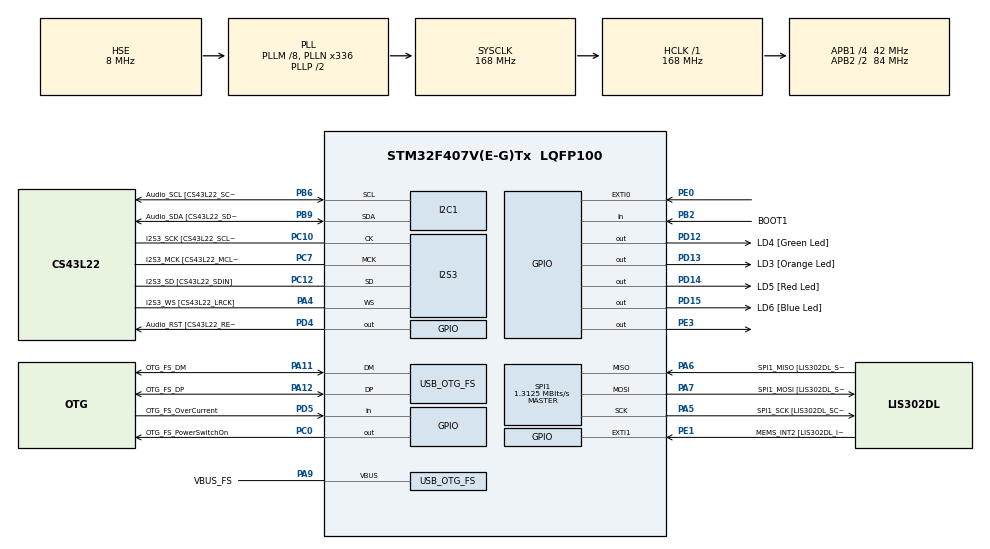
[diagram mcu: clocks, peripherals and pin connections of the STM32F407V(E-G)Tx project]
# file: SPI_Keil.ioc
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I2S3.AudioFreq-Half_Duplex_Master=I2S_AUDIOFREQ_96K
I2S3.ErrorAudioFreq=-2.34 %
I2S3.ErrorAudioFreq-Half_Duplex_Master=0.8 %
I2S3.FullDuplexMode=I2S_FULLDUPLEXMODE_DISABLE
I2S3.Instance=SPI$Index
I2S3.RealAudioFreq=93.75 KHz
I2S3.RealAudioFreq-Half_Duplex_Master=96.774 KHz
I2S3.VirtualMode=I2S_MODE_MASTER
Mcu.Family=STM32F4
Mcu.Name=STM32F407V(E-G)Tx
Mcu.Package=LQFP100
NVIC.EXTI0_IRQn=true\:0\:0\:false\:false\:true\:true
NVIC.OTG_FS_IRQn=true\:0\:0\:false\:false\:true\:true
NVIC.PriorityGroup=NVIC_PRIORITYGROUP_0
PA10.GPIO_Label=OTG_FS_ID
PA10.GPIO_Mode=GPIO_MODE_AF_PP
PA10.GPIO_PuPd=GPIO_NOPULL
PA10.GPIO_Speed=GPIO_SPEED_FREQ_LOW
PA10.Signal=USB_OTG_FS_ID
PA11.GPIO_Label=OTG_FS_DM
PA11.GPIO_Mode=GPIO_MODE_AF_PP
PA11.GPIO_PuPd=GPIO_NOPULL
PA11.GPIO_Speed=GPIO_SPEED_FREQ_LOW
PA11.Mode=Host_Only
PA11.Signal=USB_OTG_FS_DM
PA12.GPIO_Label=OTG_FS_DP
PA12.GPIO_Mode=GPIO_MODE_AF_PP
PA12.GPIO_PuPd=GPIO_NOPULL
PA12.GPIO_Speed=GPIO_SPEED_FREQ_LOW
PA12.Mode=Host_Only
PA12.Signal=USB_OTG_FS_DP
PA13.GPIO_Label=SWDIO
PA13.Mode=Serial_Wire
PA13.Signal=SYS_JTMS-SWDIO
PA14.GPIO_Label=SWCLK
PA14.Mode=Serial_Wire
PA14.Signal=SYS_JTCK-SWCLK
PA4.GPIO_Label=I2S3_WS [CS43L22_LRCK]
PA4.GPIO_Mode=GPIO_MODE_AF_PP
PA4.GPIO_PuPd=GPIO_NOPULL
PA4.GPIO_Speed=GPIO_SPEED_FREQ_LOW
PA4.Mode=Half_Duplex_Master
PA4.Signal=I2S3_WS
PA5.GPIO_Label=SPI1_SCK [LIS302DL_SCL/SPC]
PA5.GPIO_Mode=GPIO_MODE_AF_PP
PA5.GPIO_PuPd=GPIO_NOPULL
PA5.GPIO_Speed=GPIO_SPEED_FREQ_LOW
PA5.Mode=Full_Duplex_Master
PA5.Signal=SPI1_SCK
PA6.GPIO_Label=SPI1_MISO [LIS302DL_SDO]
PA6.GPIO_Mode=GPIO_MODE_AF_PP
PA6.GPIO_PuPd=GPIO_NOPULL
PA6.GPIO_Speed=GPIO_SPEED_FREQ_LOW
PA6.Mode=Full_Duplex_Master
PA6.Signal=SPI1_MISO
PA7.GPIO_Label=SPI1_MOSI [LIS302DL_SDA/SDI/SDO]
PA7.GPIO_Mode=GPIO_MODE_AF_PP
PA7.GPIO_PuPd=GPIO_NOPULL
PA7.GPIO_Speed=GPIO_SPEED_FREQ_LOW
PA7.Mode=Full_Duplex_Master
PA7.Signal=SPI1_MOSI
PA9.GPIO_Label=VBUS_FS
PA9.GPIO_Mode=GPIO_MODE_INPUT
PA9.GPIO_PuPd=GPIO_NOPULL
PA9.Mode=Activate_VBUS
PA9.Signal=USB_OTG_FS_VBUS
PB10.GPIO_Label=CLK_IN [MP45DT02_CLK]
PB10.GPIO_Mode=GPIO_MODE_AF_PP
PB10.GPIO_PuPd=GPIO_NOPULL
PB10.GPIO_Speed=GPIO_SPEED_FREQ_LOW
PB10.Signal=I2S2_CK
PB2.GPIO_Label=BOOT1
PB2.GPIO_Mode=GPIO_MODE_INPUT
PB2.GPIO_PuPd=GPIO_NOPULL
PB2.Signal=GPIO_Input
PB3.GPIO_Label=SWO
PB3.Signal=SYS_JTDO-SWO
PB6.GPIO_Label=Audio_SCL [CS43L22_SCL]
PB6.GPIO_Mode=GPIO_MODE_AF_OD
PB6.GPIO_PuPd=GPIO_NOPULL
PB6.GPIO_Speed=GPIO_SPEED_FREQ_LOW
PB6.Mode=I2C
PB6.Signal=I2C1_SCL
PB9.GPIO_Label=Audio_SDA [CS43L22_SDA]
PB9.GPIO_Mode=GPIO_MODE_AF_OD
PB9.GPIO_PuPd=GPIO_NOPULL
PB9.GPIO_Speed=GPIO_SPEED_FREQ_LOW
PB9.Mode=I2C
PB9.Signal=I2C1_SDA
PC0.GPIO_Label=OTG_FS_PowerSwitchOn
PC0.GPIO_PuPd=GPIO_NOPULL
PC0.GPIO_Speed=GPIO_SPEED_FREQ_LOW
PC0.PinState=GPIO_PIN_SET
PC0.Signal=GPIO_Output
PC10.GPIO_Label=I2S3_SCK [CS43L22_SCLK]
PC10.GPIO_Mode=GPIO_MODE_AF_PP
PC10.GPIO_PuPd=GPIO_NOPULL
PC10.GPIO_Speed=GPIO_SPEED_FREQ_LOW
PC10.Mode=Half_Duplex_Master
PC10.Signal=I2S3_CK
PC12.GPIO_Label=I2S3_SD [CS43L22_SDIN]
PC12.GPIO_Mode=GPIO_MODE_AF_PP
PC12.GPIO_PuPd=GPIO_NOPULL
PC12.GPIO_Speed=GPIO_SPEED_FREQ_LOW
PC12.Mode=Half_Duplex_Master
PC12.Signal=I2S3_SD
PC14-OSC32_IN.GPIO_Label=PC14-OSC32_IN
PC14-OSC32_IN.Mode=LSE-External-Oscillator
PC14-OSC32_IN.Signal=RCC_OSC32_IN
PC15-OSC32_OUT.GPIO_Label=PC15-OSC32_OUT
PC15-OSC32_OUT.Mode=LSE-External-Oscillator
PC15-OSC32_OUT.Signal=RCC_OSC32_OUT
PC3.GPIO_Label=PDM_OUT [MP45DT02_DOUT]
PC3.GPIO_Mode=GPIO_MODE_AF_PP
PC3.GPIO_PuPd=GPIO_NOPULL
PC3.GPIO_Speed=GPIO_SPEED_FREQ_LOW
PC3.Signal=I2S2_SD
PC7.GPIO_Label=I2S3_MCK [CS43L22_MCLK]
PC7.GPIO_Mode=GPIO_MODE_AF_PP
PC7.GPIO_PuPd=GPIO_NOPULL
PC7.GPIO_Speed=GPIO_SPEED_FREQ_LOW
PC7.Mode=Master_Clock_Activated
PC7.Signal=I2S3_MCK
PD12.GPIO_Label=LD4 [Green Led]
PD12.GPIO_PuPd=GPIO_NOPULL
PD12.GPIO_Speed=GPIO_SPEED_FREQ_LOW
PD12.Signal=GPIO_Output
PD13.GPIO_Label=LD3 [Orange Led]
PD13.GPIO_PuPd=GPIO_NOPULL
PD13.GPIO_Speed=GPIO_SPEED_FREQ_LOW
PD13.Signal=GPIO_Output
PD14.GPIO_Label=LD5 [Red Led]
PD14.GPIO_PuPd=GPIO_NOPULL
PD14.GPIO_Speed=GPIO_SPEED_FREQ_LOW
PD14.Signal=GPIO_Output
PD15.GPIO_Label=LD6 [Blue Led]
PD15.GPIO_PuPd=GPIO_NOPULL
PD15.GPIO_Speed=GPIO_SPEED_FREQ_LOW
PD15.Signal=GPIO_Output
PD4.GPIO_Label=Audio_RST [CS43L22_RESET]
PD4.GPIO_PuPd=GPIO_NOPULL
PD4.GPIO_Speed=GPIO_SPEED_FREQ_LOW
PD4.Signal=GPIO_Output
PD5.GPIO_Label=OTG_FS_OverCurrent
PD5.GPIO_Mode=GPIO_MODE_INPUT
PD5.GPIO_PuPd=GPIO_NOPULL
PD5.Signal=GPIO_Input
PE0.Signal=GPXTI0
PE1.GPIO_Label=MEMS_INT2 [LIS302DL_INT2]
PE1.GPIO_ModeDefaultEXTI=GPIO_MODE_EVT_RISING
PE1.GPIO_PuPd=GPIO_NOPULL
PE1.Signal=GPXTI1
PE3.GPIO_PuPd=GPIO_PULLUP
PE3.PinState=GPIO_PIN_SET
PE3.Signal=GPIO_Output
PH0-OSC_IN.GPIO_Label=PH0-OSC_IN
PH0-OSC_IN.Mode=HSE-External-Oscillator
PH0-OSC_IN.Signal=RCC_OSC_IN
PH1-OSC_OUT.GPIO_Label=PH1-OSC_OUT
PH1-OSC_OUT.Mode=HSE-External-Oscillator
PH1-OSC_OUT.Signal=RCC_OSC_OUT
ProjectManager.HeapSize=0x200
ProjectManager.StackSize=0x400
ProjectManager.TargetToolchain=MDK-ARM V5
RCC.48MHZClocksFreq_Value=48000000
RCC.AHBFreq_Value=168000000
RCC.APB1CLKDivider=RCC_HCLK_DIV4
RCC.APB1Freq_Value=42000000
RCC.APB1TimFreq_Value=84000000
RCC.APB2CLKDivider=RCC_HCLK_DIV2
RCC.APB2Freq_Value=84000000
RCC.APB2TimFreq_Value=168000000
RCC.CortexFreq_Value=168000000
RCC.HCLKFreq_Value=168000000
RCC.HSE_VALUE=8000000
RCC.HSI_VALUE=16000000
RCC.PLLM=8
RCC.PLLN=336
RCC.PLLQ=7
RCC.SYSCLKFreq_VALUE=168000000
RCC.SYSCLKSource=RCC_SYSCLKSOURCE_PLLCLK
RCC.VCOOutputFreq_Value=336000000
SPI1.BaudRatePrescaler=SPI_BAUDRATEPRESCALER_64
SPI1.BaudRatePrescaler-Full_Duplex_Master=SPI_BAUDRATEPRESCALER_2
SPI1.CalculateBaudRate=1.3125 MBits/s
SPI1.CalculateBaudRate-Full_Duplex_Master=42.0 MBits/s
SPI1.Direction=SPI_DIRECTION_2LINES
SPI1.Mode=SPI_MODE_MASTER
SPI1.Mode-Full_Duplex_Master=SPI_MODE_MASTER
SPI1.VirtualType=VM_MASTER
USB_OTG_FS.VirtualMode=Host_Only
USB_OTG_FS.phy_itface=HCD_PHY_EMBEDDED
board=STM32F4DISCOVERY

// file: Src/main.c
/**
  ******************************************************************************
  * @file           : main.c
  * @brief          : Main program body
  ******************************************************************************
  ** This notice applies to any and all portions of this file
  * that are not between comment pairs USER CODE BEGIN and
  * USER CODE END. Other portions of this file, whether
  * inserted by the user or by software development tools
  * are owned by their respective copyright owners.
  *
  * COPYRIGHT(c) 2018 STMicroelectronics
  *
  * Redistribution and use in source and binary forms, with or without modification,
  * are permitted provided that the following conditions are met:
  *   1. Redistributions of source code must retain the above copyright notice,
  *      this list of conditions and the following disclaimer.
  *   2. Redistributions in binary form must reproduce the above copyright notice,
  *      this list of conditions and the following disclaimer in the documentation
  *      and/or other materials provided with the distribution.
  *   3. Neither the name of STMicroelectronics nor the names of its contributors
  *      may be used to endorse or promote products derived from this software
  *      without specific prior written permission.
  *
  * THIS SOFTWARE IS PROVIDED BY THE COPYRIGHT HOLDERS AND CONTRIBUTORS "AS IS"
  * AND ANY EXPRESS OR IMPLIED WARRANTIES, INCLUDING, BUT NOT LIMITED TO, THE
  * IMPLIED WARRANTIES OF MERCHANTABILITY AND FITNESS FOR A PARTICULAR PURPOSE ARE
  * DISCLAIMED. IN NO EVENT SHALL THE COPYRIGHT HOLDER OR CONTRIBUTORS BE LIABLE
  * FOR ANY DIRECT, INDIRECT, INCIDENTAL, SPECIAL, EXEMPLARY, OR CONSEQUENTIAL
  * DAMAGES (INCLUDING, BUT NOT LIMITED TO, PROCUREMENT OF SUBSTITUTE GOODS OR
  * SERVICES; LOSS OF USE, DATA, OR PROFITS; OR BUSINESS INTERRUPTION) HOWEVER
  * CAUSED AND ON ANY THEORY OF LIABILITY, WHETHER IN CONTRACT, STRICT LIABILITY,
  * OR TORT (INCLUDING NEGLIGENCE OR OTHERWISE) ARISING IN ANY WAY OUT OF THE USE
  * OF THIS SOFTWARE, EVEN IF ADVISED OF THE POSSIBILITY OF SUCH DAMAGE.
  *
  ******************************************************************************
  */
#include "main.h"
#include "stm32f4xx_hal.h"
#include "i2c.h"
#include "i2s.h"
#include "spi.h"
#include "usb_otg.h"
#include "gpio.h"

/* USER CODE BEGIN PV */
/* Private variables ---------------------------------------------------------*/

/* USER CODE END PV */

void SystemClock_Config(void);

/* USER CODE BEGIN PFP */
/* Private function prototypes -----------------------------------------------*/

/* USER CODE END PFP */

/* USER CODE BEGIN 0 */
uint8_t spiTxBuf[2], spiRxBuf[6];
int16_t result_x, result_y, result_z;
/* USER CODE END 0 */

int main(void)
{

  /* MCU Configuration----------------------------------------------------------*/

  /* Reset of all peripherals, Initializes the Flash interface and the Systick. */
  HAL_Init();

  /* Configure the system clock */
  SystemClock_Config();

  /* Initialize all configured peripherals */
  MX_GPIO_Init();
  MX_I2C1_Init();
  MX_I2S3_Init();
  MX_SPI1_Init();
  MX_USB_OTG_FS_HCD_Init();
  /* USER CODE BEGIN 2 */
	// SPI Trasmit
	// 1. Bring Slave select low
	HAL_GPIO_WritePin(GPIOE, GPIO_PIN_3, GPIO_PIN_RESET);
	// 2. Transmit register + data
	spiTxBuf[0] = 0x20;
	spiTxBuf[1] = 0x37;	//Enable all 3 axis, output data at 12.5 Hz
	HAL_SPI_Transmit(&hspi1, spiTxBuf, 2, 50);
	// 3. Bring Slave select high
	HAL_GPIO_WritePin(GPIOE, GPIO_PIN_3, GPIO_PIN_SET);

	// SPI Recieve
	// Read back register we just wrote.
	// 1. Bring Slave select low, PE3
	HAL_GPIO_WritePin(GPIOE, GPIO_PIN_3, GPIO_PIN_RESET);
	// 2. Transmit register + 0x80 (to set MSB bit to high, read mode)
	spiTxBuf[0] = 0x20 | 0x80;
	HAL_SPI_Transmit(&hspi1, spiTxBuf, 1, 50);
	// 3. Receive data
	HAL_SPI_Receive(&hspi1, spiRxBuf, 1, 50);
	// 4. Bring Slave select high, PE3
	HAL_GPIO_WritePin(GPIOE, GPIO_PIN_3, GPIO_PIN_SET);

	// SPI Trasmit
	// Enable DRDY interrupt
	// 1. Bring Slave select low
	HAL_GPIO_WritePin(GPIOE, GPIO_PIN_3, GPIO_PIN_RESET);
	// Cotrol register CTRL_REG3, address 0x23
	// Set DR_EN to 1 :DRDY signal enable to INT1
	// Set IEA to 1 :Interrupt signal polarity to active high
	// Set INT1_EN to 1 :	INT1/DRDY signal enabled
	// 2. Transmit register + data
	spiTxBuf[0] = 0x23;
	spiTxBuf[1] = 0xC8;	//Enable all 3 axis, output data at 3 Hz
	HAL_SPI_Transmit(&hspi1, spiTxBuf, 2, 50);
	// 3. Bring Slave select high
	HAL_GPIO_WritePin(GPIOE, GPIO_PIN_3, GPIO_PIN_SET);

	/* USER CODE END 2 */
  /* Infinite loop */
  while (1)
  {

		HAL_Delay(10);
  }
}

void SystemClock_Config(void)
{

  RCC_OscInitTypeDef RCC_OscInitStruct;
  RCC_ClkInitTypeDef RCC_ClkInitStruct;
  RCC_PeriphCLKInitTypeDef PeriphClkInitStruct;

    /**Configure the main internal regulator output voltage
    */
  __HAL_RCC_PWR_CLK_ENABLE();

  __HAL_PWR_VOLTAGESCALING_CONFIG(PWR_REGULATOR_VOLTAGE_SCALE1);

    /**Initializes the CPU, AHB and APB busses clocks
    */
  RCC_OscInitStruct.OscillatorType = RCC_OSCILLATORTYPE_HSE;
  RCC_OscInitStruct.HSEState = RCC_HSE_ON;
  RCC_OscInitStruct.PLL.PLLState = RCC_PLL_ON;
  RCC_OscInitStruct.PLL.PLLSource = RCC_PLLSOURCE_HSE;
  RCC_OscInitStruct.PLL.PLLM = 8;
  RCC_OscInitStruct.PLL.PLLN = 336;
  RCC_OscInitStruct.PLL.PLLP = RCC_PLLP_DIV2;
  RCC_OscInitStruct.PLL.PLLQ = 7;
  if (HAL_RCC_OscConfig(&RCC_OscInitStruct) != HAL_OK)
  {
    _Error_Handler(__FILE__, __LINE__);
  }

    /**Initializes the CPU, AHB and APB busses clocks
    */
  RCC_ClkInitStruct.ClockType = RCC_CLOCKTYPE_HCLK|RCC_CLOCKTYPE_SYSCLK
                              |RCC_CLOCKTYPE_PCLK1|RCC_CLOCKTYPE_PCLK2;
  RCC_ClkInitStruct.SYSCLKSource = RCC_SYSCLKSOURCE_PLLCLK;
  RCC_ClkInitStruct.AHBCLKDivider = RCC_SYSCLK_DIV1;
  RCC_ClkInitStruct.APB1CLKDivider = RCC_HCLK_DIV4;
  RCC_ClkInitStruct.APB2CLKDivider = RCC_HCLK_DIV2;

  if (HAL_RCC_ClockConfig(&RCC_ClkInitStruct, FLASH_LATENCY_5) != HAL_OK)
  {
    _Error_Handler(__FILE__, __LINE__);
  }

  PeriphClkInitStruct.PeriphClockSelection = RCC_PERIPHCLK_I2S;
  PeriphClkInitStruct.PLLI2S.PLLI2SN = 192;
  PeriphClkInitStruct.PLLI2S.PLLI2SR = 2;
  if (HAL_RCCEx_PeriphCLKConfig(&PeriphClkInitStruct) != HAL_OK)
  {
    _Error_Handler(__FILE__, __LINE__);
  }

    /**Configure the Systick interrupt time
    */
  HAL_SYSTICK_Config(HAL_RCC_GetHCLKFreq()/1000);

    /**Configure the Systick
    */
  HAL_SYSTICK_CLKSourceConfig(SYSTICK_CLKSOURCE_HCLK);

  /* SysTick_IRQn interrupt configuration */
  HAL_NVIC_SetPriority(SysTick_IRQn, 0, 0);
}

/* USER CODE BEGIN 4 */
void HAL_GPIO_EXTI_Callback(uint16_t GPIO_Pin)
{
  /* Prevent unused argument(s) compilation warning */
  UNUSED(GPIO_Pin);

	// SPI Recieve
	// 1. Bring Slave select low, PE3
	HAL_GPIO_WritePin(GPIOE, GPIO_PIN_3, GPIO_PIN_RESET);
	// 2. Transmit register + 0x80 (to set MSB bit to high, read mode)
	// start reading register from address 0x28
	spiTxBuf[0] = 0x28 | 0x80;
	HAL_SPI_Transmit(&hspi1, spiTxBuf, 1, 50);
	// 3. Receive data
	// Read for 6 byte, 2 byte for each axis
	HAL_SPI_Receive(&hspi1, spiRxBuf, 6, 50);
	// 4. Bring Slave select high, PE3
	HAL_GPIO_WritePin(GPIOE, GPIO_PIN_3, GPIO_PIN_SET);

	result_x = ((int16_t)(spiRxBuf[1]) << 8) | ((int16_t)(spiRxBuf[0]));
	result_y = ((int16_t)(spiRxBuf[3]) << 8) | ((int16_t)(spiRxBuf[2]));
	result_z = ((int16_t)(spiRxBuf[5]) << 8) | ((int16_t)(spiRxBuf[4]));

	// Blinking Green LED
	HAL_GPIO_TogglePin(GPIOD, GPIO_PIN_12);
}

int fputc(int ch, FILE *f)
{
	return(ITM_SendChar(ch));
}
/* USER CODE END 4 */

void _Error_Handler(char *file, int line)
{
  while(1)
  {
  }
}

/************************ (C) COPYRIGHT STMicroelectronics *****END OF FILE****/
